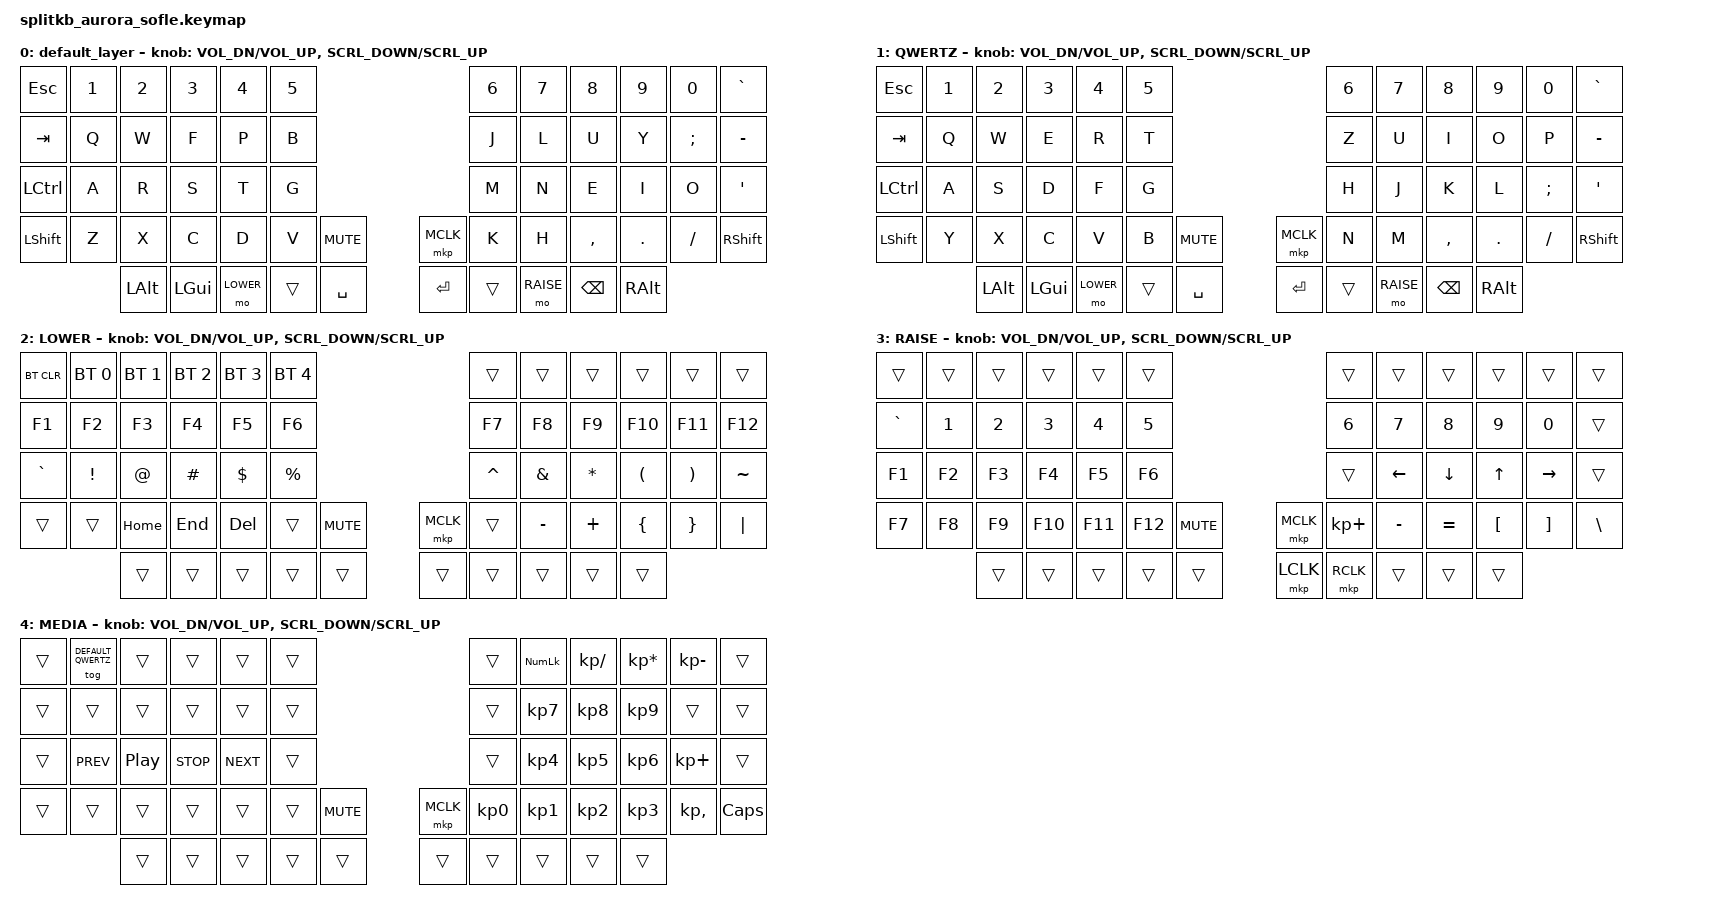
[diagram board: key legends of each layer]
/*
 * Copyright (c) 2023 The ZMK Contributors
 *
 * SPDX-License-Identifier: MIT
 */

#define ZMK_POINTING_DEFAULT_SCRL_VAL 140

#include <behaviors.dtsi>
#include <dt-bindings/zmk/keys.h>
#include <dt-bindings/zmk/bt.h>
#include <dt-bindings/zmk/ext_power.h>
#include <dt-bindings/zmk/pointing.h>

#define DEFAULT 0
#define DEFAULT_QWERTZ 1
#define LOWER 2
#define RAISE 3
#define ADJUST 4

/ { 
    behaviors {
        mouse_scroll: sensor_scroll {
        	compatible = "zmk,behavior-sensor-rotate-var";
        	#sensor-binding-cells = <2>;
            bindings = <&msc>, <&msc>;
            tap-ms = <20>;
		};
    };

	conditional_layers {
        compatible = "zmk,conditional-layers";
        tri_layer {
            if-layers = <2 3>;
            then-layer = <4>;
        };
    };

    keymap {
        compatible = "zmk,keymap";

        default_layer {
// ------------------------------------------------------------------------------------------------------------
// |  ESC  |  1  |  2  |  3   |  4   |  5   |                   |  6   |  7    |  8    |  9   |   0   |   `   |
// |  TAB  |  Q  |  W  |  F   |  P   |  B   |                   |  J   |  L    |  U    |  Y   |   ;   |   -   |
// |  CTRL |  A  |  R  |  S   |  T   |  G   |                   |  M   |  N    |  E    |  I   |   O   |   '   |
// | SHIFT |  Z  |  X  |  C   |  D   |  V   | MUTE        MCLK  |  K   |  H    |  ,    |  .   |   /   | SHIFT |
//               | ALT  | GUI | LOWER|  ?   | SPACE |   | ENTER |  ?   | RAISE | BSPC  | RALT  |

            bindings = <
&kp ESC    &kp N1  &kp N2   &kp N3    &kp N4    &kp N5                                 &kp N6    &kp N7    &kp N8     &kp N9   &kp N0         &kp GRAVE
&kp TAB    &kp Q   &kp W    &kp F     &kp P     &kp B                                  &kp J     &kp L     &kp U      &kp Y    &kp SEMICOLON  &kp MINUS
&kp LCTRL  &kp A   &kp R    &kp S     &kp T     &kp G                                  &kp M     &kp N     &kp E      &kp I    &kp O          &kp SQT
&kp LSHFT  &kp Z   &kp X    &kp C     &kp D     &kp V  &kp C_MUTE            &mkp MCLK &kp K     &kp H     &kp COMMA  &kp DOT  &kp FSLH       &kp RSHFT
                   &kp LALT &kp LGUI  &mo LOWER &trans &kp SPACE             &kp RET   &trans    &mo RAISE &kp BSPC   &kp RALT
            >;

            sensor-bindings = <&inc_dec_kp C_VOL_DN C_VOL_UP &mouse_scroll SCRL_DOWN SCRL_UP>;
        };

        default_qwertz {
// ------------------------------------------------------------------------------------------------------------
// |  ESC  |  1  |  2  |  3   |  4   |  5   |                   |  6   |  7    |  8    |  9   |   0   |   `   |
// |  TAB  |  Q  |  W  |  E   |  R   |  T   |                   |  Z   |  U    |  I    |  O   |   P   |   -   |
// |  CTRL |  A  |  S  |  D   |  F   |  G   |                   |  H   |  J    |  K    |  L   |   ;   |   '   |
// | SHIFT |  Z  |  X  |  C   |  V   |  B   |  MUTE  |  | MCLK  |  N   |  M    |  ,    |  .   |   /   | SHIFT |
//                     | ALT  | GUI  | LOWER|  SPACE |  | ENTER | RAISE| BSPC  | GUI   |
            bindings = <
&kp ESC   &kp N1 &kp N2   &kp N3    &kp N4    &kp N5                           &kp N6 &kp N7   &kp N8    &kp N9  &kp N0   &kp GRAVE
&kp TAB   &kp Q  &kp W    &kp E     &kp R     &kp T                            &kp Z  &kp U    &kp I     &kp O   &kp P    &kp MINUS
&kp LCTRL &kp A  &kp S    &kp D     &kp F     &kp G                            &kp H  &kp J    &kp K     &kp L   &kp SEMI &kp SQT
&kp LSHFT &kp Y  &kp X    &kp C     &kp V     &kp B  &kp C_MUTE      &mkp MCLK &kp N  &kp M    &kp COMMA &kp DOT &kp FSLH &kp RSHFT
                 &kp LALT &kp LGUI  &mo LOWER &trans &kp SPACE       &kp RET &trans &mo RAISE &kp BSPC   &kp RALT
            >;
			display-name = "QWERTZ";
            sensor-bindings = <&inc_dec_kp C_VOL_DN C_VOL_UP &mouse_scroll SCRL_DOWN SCRL_UP>;
        };        

        lower_layer {
            display-name = "Lower Layer";
// ------------------------------------------------------------------------------------------------------------
// | BTCLR | BT1 | BT2 |  BT3 |  BT4 |  BT5 |                   |      |       |       |      |       |       |
// |  F1   |  F2 |  F3 |  F4  |  F5  |  F6  |                   |  F7  |  F8   |  F9   |  F10 |  F11  |  F12  |
// |   `   |  !  |  @  |  #   |  $   |  %   |                   |  ^   |  &    |  *    |  (   |   )   |   ~   |
// |       |     | HOME|  END |  DEL |      |  MUTE  |  | MCLK  |      |  _    |  +    |  {   |   }   |  "|"  |
//               |     |      |      |      |        |  |       |      |       |       |      |
            bindings = <
&bt BT_CLR &bt BT_SEL 0 &bt BT_SEL 1      &bt BT_SEL 2      &bt BT_SEL 3 &bt BT_SEL 4                   &trans    &trans    &trans    &trans    &trans    &trans
&kp F1     &kp F2       &kp F3            &kp F4            &kp F5       &kp F6                         &kp F7    &kp F8    &kp F9    &kp F10   &kp F11   &kp F12
&kp GRAVE  &kp EXCL     &kp AT            &kp HASH          &kp DOLLAR   &kp PRCNT                      &kp CARET &kp AMPS  &kp STAR  &kp LPAR  &kp RPAR  &kp TILDE
&trans     &trans       &kp HOME          &kp END           &kp DELETE   &trans    &kp C_MUTE &mkp MCLK &trans    &kp MINUS &kp PLUS  &kp LBRC  &kp RBRC  &kp PIPE
                        &trans            &trans            &trans       &trans    &trans     &trans    &trans    &trans    &trans    &trans
            >;

			display-name = "LOWER";
            sensor-bindings = <&inc_dec_kp C_VOL_DN C_VOL_UP &mouse_scroll SCRL_DOWN SCRL_UP>;
        };

        raise_layer {
// ------------------------------------------------------------------------------------------------------------
// |       |     |     |      |      |      |                   |      |       |       |      |       |       |
// |   `   |  1  |  2  |  3   |  4   |  5   |                   |  6   |   7   |   8   |  9   |   0   |       |
// |   F1  |  F2 |  F3 |  F4  |  F5  |  F6  |                   |      |   <-  |   v   |  ^   |  ->   |       |
// |   F7  |  F8 |  F9 |  F10 |  F11 |  F12 |  MUTE  |  | MCLK  |  +   |   -   |   =   |  [   |   ]   |   \   |
//               |     |      |      |      |        |  | LCLK  | RCLK |       |       |      |
            bindings = <
&trans    &trans &trans &trans  &trans  &trans                       &trans      &trans    &trans    &trans   &trans    &trans
&kp GRAVE &kp N1 &kp N2 &kp N3  &kp N4  &kp N5                       &kp N6      &kp N7    &kp N8    &kp N9   &kp N0    &trans
&kp F1    &kp F2 &kp F3 &kp F4  &kp F5  &kp F6                       &trans      &kp LEFT  &kp DOWN  &kp UP   &kp RIGHT &trans
&kp F7    &kp F8 &kp F9 &kp F10 &kp F11 &kp F12 &kp C_MUTE &mkp MCLK &kp KP_PLUS &kp MINUS &kp EQUAL &kp LBKT &kp RBKT  &kp BSLH
                 &trans &trans  &trans  &trans  &trans     &mkp LCLK &mkp RCLK   &trans    &trans    &trans
            >;

			display-name = "RAISE";
            sensor-bindings = <&inc_dec_kp C_VOL_DN C_VOL_UP &mouse_scroll SCRL_DOWN SCRL_UP>;
        };

        adjust_layer {
// ------------------------------------------------------------------------------------------------------------
// |       |T_QWE|     |      |      |      |                   |      |       |   /   |   *  |   -   |       |
// |       |     |     |      |      |      |                   |      |   7   |   8   |   9  |       |       |
// |       |PREV |PL/PA| STOP | NEXT |      |                   |      |   4   |   5   |   6  |   +   |       |
// |       |     |     |      |      |      |  MUTE  |  | MCLK  |   0  |   1   |   2   |   3  |   ,   |  CAPS |
//                     |      |      |      |        |  |       |      |       |       |

            bindings = <
&trans  &tog DEFAULT_QWERTZ &trans            &trans      &trans      &trans                      &trans        &kp KP_NUM  &kp KP_DIVIDE   &kp KP_MULTIPLY     &kp KP_MINUS  &trans
&trans  &trans              &trans            &trans      &trans      &trans                      &trans        &kp KP_N7   &kp KP_N8       &kp KP_N9           &trans        &trans
&trans  &kp C_PREV          &kp C_PLAY_PAUSE  &kp C_STOP  &kp C_NEXT  &trans                      &trans        &kp KP_N4   &kp KP_N5       &kp KP_N6           &kp KP_PLUS   &trans
&trans  &trans              &trans            &trans      &trans      &trans &kp C_MUTE &mkp MCLK &kp KP_N0     &kp KP_N1   &kp KP_N2       &kp KP_N3           &kp KP_COMMA  &kp CAPS
                                      &trans  &trans      &trans      &trans &trans     &trans  &trans        &trans      &trans          &trans
            >;

			display-name = "MEDIA";
            sensor-bindings = <&inc_dec_kp C_VOL_DN C_VOL_UP &mouse_scroll SCRL_DOWN SCRL_UP>;
        };
    };
};
